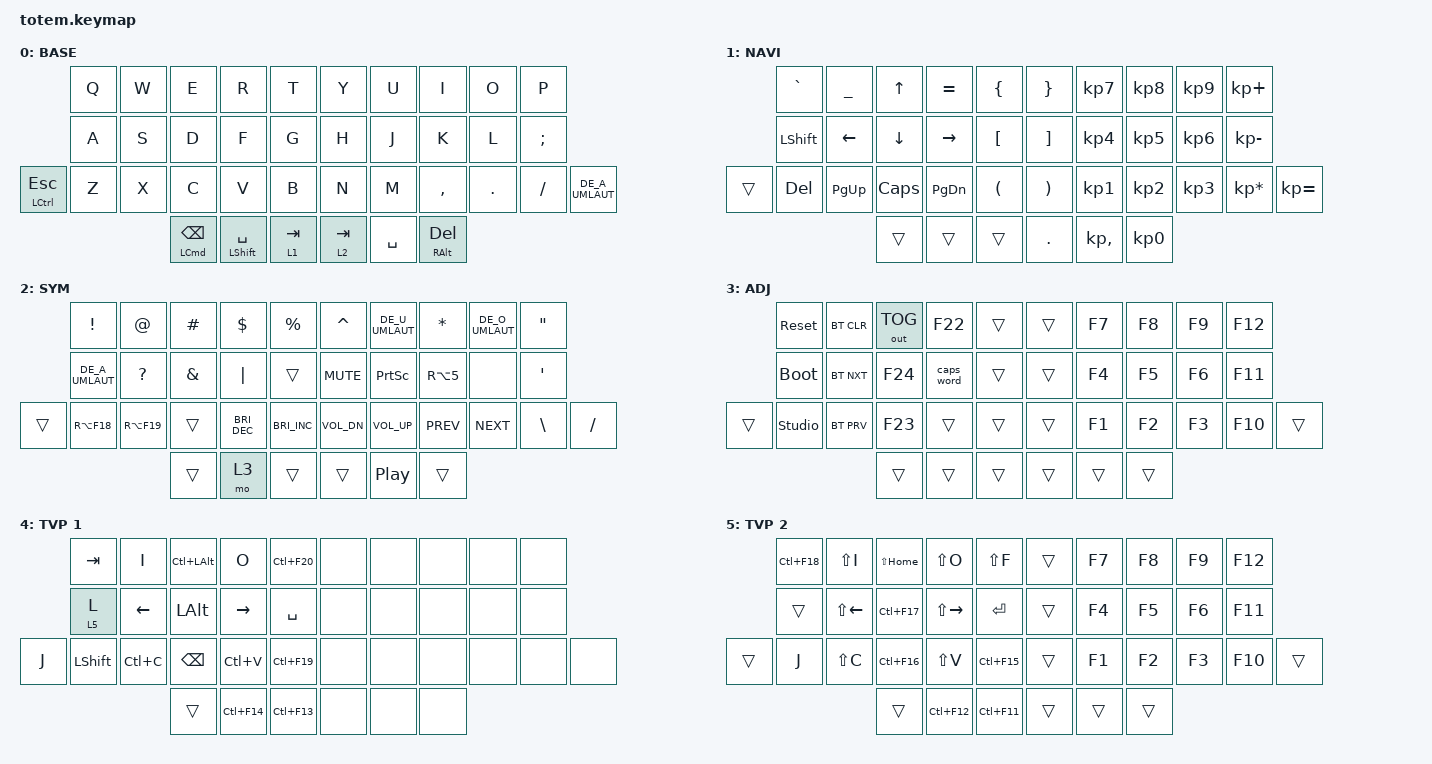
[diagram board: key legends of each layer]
//
//                                                        ▀▀▀▀▀     ▀▀▀▀▀          ▀▀█▀▀
//                                                        ▄▀▀▀▄  ▄  ▄▀▀▀▄  ▄  ▄▀▀▀▄  █  ▄▀▀▀▄
//                                                        █   █  █  █   █  █  █   █  █  █   █
//                                                         ▀▀▀   █   ▀▀▀   █   ▀▀▀   ▀   ▀▀▀
//                                                               █      ▄▄▄█▄▄▄    █   █  
//                                                               ▀      █  █  █     █▄█
//                                                             ▀▀▀▀▀    █  █  █      ▀
//                                                                      ▀  ▀  ▀
//
// ▄▄▄▄▄▄▄▄▄▄▄▄▄▄▄▄▄▄▄▄▄▄▄▄▄▄▄▄▄▄▄▄▄▄▄▄▄▄▄▄▄▄▄▄▄▄▄▄▄▄▄▄▄▄▄▄▄▄▄▄▄▄▄▄▄▄▄▄▄▄▄▄▄▄▄▄▄▄▄▄▄▄▄▄▄▄▄▄▄▄▄▄▄▄▄▄▄▄▄▄▄▄▄▄▄▄▄▄▄▄▄▄▄▄▄▄▄▄▄▄▄▄▄▄▄▄▄▄▄▄▄▄▄▄▄▄▄▄▄▄▄▄▄▄▄▄▄▄▄

#include "keys_de.h"
#include <behaviors.dtsi>
#include <dt-bindings/zmk/bt.h>
#include <dt-bindings/zmk/keys.h>
#include <dt-bindings/zmk/outputs.h>

#define BASE 0
#define NAV  1
#define SYM  2
#define ADJ  3
#define TVP1 4
#define TVP2 5

&mt {
    quick-tap-ms = <100>;
    global-quick-tap;
    flavor = "tap-preferred";
    tapping-term-ms = <170>;
};

/ {
    combos {
        compatible = "zmk,combos";

        combo_esc {
            timeout-ms = <50>;
            key-positions = <0 1>;
            bindings = <&kp ESC>;
        };

        combo_tvp {
            timeout-ms = <100>;
            key-positions = <11 12 13>;
            bindings = <&tog 4>;
        };

        Enter {
            bindings = <&kp ENTER>;
            key-positions = <16 17 18>;
        };

        TAB1 {
            bindings = <&kp TAB>;
            key-positions = <0 1>;
        };

        hyphen {
            bindings = <&kp MINUS>;
            key-positions = <30 31>;
        };

        tilde {
            bindings = <&kp TILDE>;
            key-positions = <20 0>;
        };
    };

    macros {
        gif: gif {
            label = "giphy";
            compatible = "zmk,behavior-macro";
            #binding-cells = <0>;
            bindings =
                <&macro_press>,
                <&kp LSHFT>,
                <&macro_tap>,
                <&kp N2>,
                <&macro_release>,
                <&kp LSHFT>,
                <&macro_tap>,
                <&kp G &kp I &kp F>;
        };
    };

    keymap {
        compatible = "zmk,keymap";

        // ▄▄▄▄▄▄▄▄▄▄▄▄▄▄▄▄▄▄▄▄▄▄▄▄▄▄▄▄▄▄▄▄▄▄▄▄▄▄▄▄▄▄▄▄▄▄▄▄▄▄▄▄▄▄▄▄▄▄▄▄▄▄▄▄▄▄▄▄▄▄▄▄▄▄▄▄▄▄▄▄▄▄▄▄▄▄▄▄▄▄▄▄▄▄▄▄▄▄▄▄▄▄▄▄▄▄▄▄▄▄▄▄▄▄▄▄▄▄▄▄▄▄▄▄▄▄▄▄▄▄▄▄▄▄▄▄▄▄▄▄▄▄▄▄▄▄▄▄▄

        base_layer {
            // ┏━━━━━━━━━━━━━━━━━━━━━━━━━━━━━━━━━━━━━━━┓

            label = "BASE";

            // ┗━━━━━━━━━━━━━━━━━━━━━━━━━━━━━━━━━━━━━━━┛
            //             ┏━━━━━━━━━━━┳━━━━━━━━━━━┳━━━━━━━━━━━┳━━━━━━━━━━━┳━━━━━━━━━━━┓   ┏━━━━━━━━━━━┳━━━━━━━━━━━┳━━━━━━━━━━━┳━━━━━━━━━━━┳━━━━━━━━━━━┓
            //             ┃     Q     ┃     W     ┃     F     ┃     P     ┃     G     ┃   ┃     J     ┃     L     ┃     U     ┃     Y     ┃     ;     ┃
            //             ┣━━━━━━━━━━━╋━━━━━━━━━━━╋━━━━━━━━━━━╋━━━━━━━━━━━╋━━━━━━━━━━━┫   ┣━━━━━━━━━━━╋━━━━━━━━━━━╋━━━━━━━━━━━╋━━━━━━━━━━━╋━━━━━━━━━━━┫
            //             ┃     A     ┃     R     ┃     S     ┃     T     ┃     D     ┃   ┃     H     ┃     N     ┃     E     ┃     I     ┃     O     ┃
            // ┏━━━━━━━━━━━╋━━━━━━━━━━━╋━━━━━━━━━━━╋━━━━━━━━━━━╋━━━━━━━━━━━╋━━━━━━━━━━━┫   ┣━━━━━━━━━━━╋━━━━━━━━━━━╋━━━━━━━━━━━╋━━━━━━━━━━━╋━━━━━━━━━━━╋━━━━━━━━━━━┓
            // ┃     Q     ┃     Z     ┃     X     ┃     C     ┃     V     ┃     B     ┃   ┃     K     ┃     M     ┃     ,     ┃     .     ┃     /     ┃     \     ┃
            // ┗━━━━━━━━━━━┻━━━━━━━━━━━┻━━━━━━━━━━━╋━━━━━━━━━━━╋━━━━━━━━━━━╋━━━━━━━━━━━┫   ┣━━━━━━━━━━━╋━━━━━━━━━━━╋━━━━━━━━━━━╋━━━━━━━━━━━┻━━━━━━━━━━━┻━━━━━━━━━━━┛
            //                                     ┃    DEL    ┃    TAB    ┃    SPC    ┃   ┃   ENTER   ┃           ┃   BSPC    ┃
            //                                     ┗━━━━━━━━━━━┻━━━━━━━━━━━┻━━━━━━━━━━━┛   ┗━━━━━━━━━━━┻━━━━━━━━━━━┻━━━━━━━━━━━┛

            bindings = <
                      &kp Q  &kp W  &kp E                       &kp R                 &kp T        &kp Y      &kp U      &kp I                 &kp O    &kp P
                      &kp A  &kp S  &kp D                       &kp F                 &kp G        &kp H      &kp J      &kp K                 &kp L    &kp SEMI
&mt LEFT_CONTROL ESC  &kp Z  &kp X  &kp C                       &kp V                 &kp B        &kp N      &kp M      &kp COMMA             &kp DOT  &kp FSLH  &kp DE_A_UMLAUT
                                    &mt LEFT_COMMAND BACKSPACE  &mt LEFT_SHIFT SPACE  &lt 1 TAB    &lt 2 TAB  &kp SPACE  &mt RIGHT_ALT DELETE
            >;
        };

        // ▄▄▄▄▄▄▄▄▄▄▄▄▄▄▄▄▄▄▄▄▄▄▄▄▄▄▄▄▄▄▄▄▄▄▄▄▄▄▄▄▄▄▄▄▄▄▄▄▄▄▄▄▄▄▄▄▄▄▄▄▄▄▄▄▄▄▄▄▄▄▄▄▄▄▄▄▄▄▄▄▄▄▄▄▄▄▄▄▄▄▄▄▄▄▄▄▄▄▄▄▄▄▄▄▄▄▄▄▄▄▄▄▄▄▄▄▄▄▄▄▄▄▄▄▄▄▄▄▄▄▄▄▄▄▄▄▄▄▄▄▄▄▄▄▄▄▄▄▄

        nav_layer {
            // ┏━━━━━━━━━━━━━━━━━━━━━━━━━━━━━━━━━━━━━━━┓

            label = "NAVI";

            // ┗━━━━━━━━━━━━━━━━━━━━━━━━━━━━━━━━━━━━━━━┛
            //             ┏━━━━━━━━━━━┳━━━━━━━━━━━┳━━━━━━━━━━━┳━━━━━━━━━━━┳━━━━━━━━━━━┓   ┏━━━━━━━━━━━┳━━━━━━━━━━━┳━━━━━━━━━━━┳━━━━━━━━━━━┳━━━━━━━━━━━┓
            //             ┃           ┃           ┃     UP    ┃           ┃     {     ┃   ┃     }     ┃     7     ┃     8     ┃     9     ┃     +     ┃
            //             ┣━━━━━━━━━━━╋━━━━━━━━━━━╋━━━━━━━━━━━╋━━━━━━━━━━━╋━━━━━━━━━━━┫   ┣━━━━━━━━━━━╋━━━━━━━━━━━╋━━━━━━━━━━━╋━━━━━━━━━━━╋━━━━━━━━━━━┫
            //             ┃   SHIFT   ┃   LEFT    ┃    DOWN   ┃   RIGHT   ┃     [     ┃   ┃     ]     ┃     4     ┃     5     ┃     6     ┃     -     ┃
            // ┏━━━━━━━━━━━╋━━━━━━━━━━━╋━━━━━━━━━━━╋━━━━━━━━━━━╋━━━━━━━━━━━╋━━━━━━━━━━━┫   ┣━━━━━━━━━━━╋━━━━━━━━━━━╋━━━━━━━━━━━╋━━━━━━━━━━━╋━━━━━━━━━━━╋━━━━━━━━━━━┓
            // ┃           ┃           ┃   P UP    ┃  C LOCK   ┃  P DOWN   ┃     (     ┃   ┃     )     ┃     1     ┃     2     ┃     3     ┃     *     ┃           ┃
            // ┗━━━━━━━━━━━┻━━━━━━━━━━━┻━━━━━━━━━━━╋━━━━━━━━━━━╋━━━━━━━━━━━╋━━━━━━━━━━━┫   ┣━━━━━━━━━━━╋━━━━━━━━━━━╋━━━━━━━━━━━╋━━━━━━━━━━━┻━━━━━━━━━━━┻━━━━━━━━━━━┛
            //                                     ┃           ┃    TAB    ┃    SPC    ┃   ┃    DEL    ┃     0     ┃           ┃
            //                                     ┗━━━━━━━━━━━┻━━━━━━━━━━━┻━━━━━━━━━━━┛   ┗━━━━━━━━━━━┻━━━━━━━━━━━┻━━━━━━━━━━━┛

            bindings = <
        &kp GRAVE  &kp UNDER  &kp UP    &kp EQUAL  &kp LBRC    &kp RBRC  &kp KP_N7     &kp KP_N8        &kp KP_N9  &kp KP_PLUS
        &kp LSHFT  &kp LEFT   &kp DOWN  &kp RIGHT  &kp LBKT    &kp RBKT  &kp KP_N4     &kp KP_N5        &kp KP_N6  &kp KP_MINUS
&trans  &kp DEL    &kp PG_UP  &kp CAPS  &kp PG_DN  &kp LPAR    &kp RPAR  &kp KP_N1     &kp KP_N2        &kp KP_N3  &kp KP_MULTIPLY  &kp KP_EQUAL
                              &trans    &trans     &trans      &kp DOT   &kp KP_COMMA  &kp KP_NUMBER_0
            >;
        };

        // ▄▄▄▄▄▄▄▄▄▄▄▄▄▄▄▄▄▄▄▄▄▄▄▄▄▄▄▄▄▄▄▄▄▄▄▄▄▄▄▄▄▄▄▄▄▄▄▄▄▄▄▄▄▄▄▄▄▄▄▄▄▄▄▄▄▄▄▄▄▄▄▄▄▄▄▄▄▄▄▄▄▄▄▄▄▄▄▄▄▄▄▄▄▄▄▄▄▄▄▄▄▄▄▄▄▄▄▄▄▄▄▄▄▄▄▄▄▄▄▄▄▄▄▄▄▄▄▄▄▄▄▄▄▄▄▄▄▄▄▄▄▄▄▄▄▄▄▄▄

        sim_layer {
            // ┏━━━━━━━━━━━━━━━━━━━━━━━━━━━━━━━━━━━━━━━┓

            label = "SYM";

            // ┗━━━━━━━━━━━━━━━━━━━━━━━━━━━━━━━━━━━━━━━┛
            //             ┏━━━━━━━━━━━┳━━━━━━━━━━━┳━━━━━━━━━━━┳━━━━━━━━━━━┳━━━━━━━━━━━┓   ┏━━━━━━━━━━━┳━━━━━━━━━━━┳━━━━━━━━━━━┳━━━━━━━━━━━┳━━━━━━━━━━━┓
            //             ┃     !     ┃     @     ┃     #     ┃     $     ┃     %     ┃   ┃     ˆ     ┃     &     ┃     Ü     ┃     '     ┃     "     ┃
            //             ┣━━━━━━━━━━━╋━━━━━━━━━━━╋━━━━━━━━━━━╋━━━━━━━━━━━╋━━━━━━━━━━━┫   ┣━━━━━━━━━━━╋━━━━━━━━━━━╋━━━━━━━━━━━╋━━━━━━━━━━━╋━━━━━━━━━━━┫
            //             ┃     Ä     ┃           ┃    SZ     ┃           ┃           ┃   ┃   MUTE    ┃   YEN     ┃   EURO    ┃  POUND    ┃     Ö     ┃
            // ┏━━━━━━━━━━━╋━━━━━━━━━━━╋━━━━━━━━━━━╋━━━━━━━━━━━╋━━━━━━━━━━━╋━━━━━━━━━━━┫   ┣━━━━━━━━━━━╋━━━━━━━━━━━╋━━━━━━━━━━━╋━━━━━━━━━━━╋━━━━━━━━━━━╋━━━━━━━━━━━┓
            // ┃           ┃  EMAIL1   ┃  EMAIL2   ┃           ┃           ┃           ┃   ┃   VOL-    ┃   VOL+    ┃   LAST    ┃   NEXT    ┃     \     ┃           ┃
            // ┗━━━━━━━━━━━┻━━━━━━━━━━━┻━━━━━━━━━━━╋━━━━━━━━━━━╋━━━━━━━━━━━╋━━━━━━━━━━━┫   ┣━━━━━━━━━━━╋━━━━━━━━━━━╋━━━━━━━━━━━╋━━━━━━━━━━━┻━━━━━━━━━━━┻━━━━━━━━━━━┛
            //                                     ┃           ┃    GIF    ┃    ADJ    ┃   ┃           ┃           ┃           ┃
            //                                     ┗━━━━━━━━━━━┻━━━━━━━━━━━┻━━━━━━━━━━━┛   ┗━━━━━━━━━━━┻━━━━━━━━━━━┻━━━━━━━━━━━┛

            bindings = <
        &kp EXCL         &kp AT       &kp POUND  &kp DLLR       &kp PRCNT               &kp CARET     &kp DE_U_UMLAUT  &kp ASTRK   &kp DE_O_UMLAUT  &kp DQT
        &kp DE_A_UMLAUT  &kp QMARK    &kp AMPS   &kp PIPE       &trans                  &kp C_MUTE    &kp PRINTSCREEN  &kp RA(N5)  &none            &kp APOS
&trans  &kp RA(F18)      &kp RA(F19)  &trans     &kp C_BRI_DEC  &kp C_BRIGHTNESS_INC    &kp C_VOL_DN  &kp C_VOL_UP     &kp C_PREV  &kp C_NEXT       &kp BSLH  &kp FSLH
                                      &trans     &mo 3          &trans                  &trans        &kp C_PP         &trans
            >;
        };

        // ▄▄▄▄▄▄▄▄▄▄▄▄▄▄▄▄▄▄▄▄▄▄▄▄▄▄▄▄▄▄▄▄▄▄▄▄▄▄▄▄▄▄▄▄▄▄▄▄▄▄▄▄▄▄▄▄▄▄▄▄▄▄▄▄▄▄▄▄▄▄▄▄▄▄▄▄▄▄▄▄▄▄▄▄▄▄▄▄▄▄▄▄▄▄▄▄▄▄▄▄▄▄▄▄▄▄▄▄▄▄▄▄▄▄▄▄▄▄▄▄▄▄▄▄▄▄▄▄▄▄▄▄▄▄▄▄▄▄▄▄▄▄▄▄▄▄▄▄▄

        adjust_layer {
            // ┏━━━━━━━━━━━━━━━━━━━━━━━━━━━━━━━━━━━━━━━┓

            label = "ADJ";

            // ┗━━━━━━━━━━━━━━━━━━━━━━━━━━━━━━━━━━━━━━━┛
            //             ┏━━━━━━━━━━━┳━━━━━━━━━━━┳━━━━━━━━━━━┳━━━━━━━━━━━┳━━━━━━━━━━━┓   ┏━━━━━━━━━━━┳━━━━━━━━━━━┳━━━━━━━━━━━┳━━━━━━━━━━━┳━━━━━━━━━━━┓
            //             ┃   RESET   ┃ BT CLEAR  ┃  OUT TOG  ┃           ┃           ┃   ┃           ┃    F7     ┃    F8     ┃    F9     ┃    F12    ┃
            //             ┣━━━━━━━━━━━╋━━━━━━━━━━━╋━━━━━━━━━━━╋━━━━━━━━━━━╋━━━━━━━━━━━┫   ┣━━━━━━━━━━━╋━━━━━━━━━━━╋━━━━━━━━━━━╋━━━━━━━━━━━╋━━━━━━━━━━━┫
            //             ┃ BOOTLOAD  ┃ BT NEXT   ┃           ┃           ┃           ┃   ┃           ┃    F4     ┃    F5     ┃    F6     ┃    F11    ┃
            // ┏━━━━━━━━━━━╋━━━━━━━━━━━╋━━━━━━━━━━━╋━━━━━━━━━━━╋━━━━━━━━━━━╋━━━━━━━━━━━┫   ┣━━━━━━━━━━━╋━━━━━━━━━━━╋━━━━━━━━━━━╋━━━━━━━━━━━╋━━━━━━━━━━━╋━━━━━━━━━━━┓
            // ┃           ┃ STUDIO    ┃ BT PREV   ┃           ┃           ┃           ┃   ┃           ┃    F1     ┃    F2     ┃    F3     ┃    F10    ┃           ┃
            // ┗━━━━━━━━━━━┻━━━━━━━━━━━┻━━━━━━━━━━━╋━━━━━━━━━━━╋━━━━━━━━━━━╋━━━━━━━━━━━┫   ┣━━━━━━━━━━━╋━━━━━━━━━━━╋━━━━━━━━━━━╋━━━━━━━━━━━┻━━━━━━━━━━━┻━━━━━━━━━━━┛
            //                                     ┃           ┃           ┃           ┃   ┃           ┃           ┃           ┃
            //                                     ┗━━━━━━━━━━━┻━━━━━━━━━━━┻━━━━━━━━━━━┛   ┗━━━━━━━━━━━┻━━━━━━━━━━━┻━━━━━━━━━━━┛

            bindings = <
        &sys_reset      &bt BT_CLR  &out OUT_TOG  &kp F22     &trans    &trans  &kp F7  &kp F8  &kp F9  &kp F12
        &bootloader     &bt BT_NXT  &kp F24       &caps_word  &trans    &trans  &kp F4  &kp F5  &kp F6  &kp F11
&trans  &studio_unlock  &bt BT_PRV  &kp F23       &trans      &trans    &trans  &kp F1  &kp F2  &kp F3  &kp F10  &trans
                                    &trans        &trans      &trans    &trans  &trans  &trans
            >;
        };

        // ▄▄▄▄▄▄▄▄▄▄▄▄▄▄▄▄▄▄▄▄▄▄▄▄▄▄▄▄▄▄▄▄▄▄▄▄▄▄▄▄▄▄▄▄▄▄▄▄▄▄▄▄▄▄▄▄▄▄▄▄▄▄▄▄▄▄▄▄▄▄▄▄▄▄▄▄▄▄▄▄▄▄▄▄▄▄▄▄▄▄▄▄▄▄▄▄▄▄▄▄▄▄▄▄▄▄▄▄▄▄▄▄▄▄▄▄▄▄▄▄▄▄▄▄▄▄▄▄▄▄▄▄▄▄▄▄▄▄▄▄▄▄▄▄▄▄▄▄▄

        tvp1_layer {
            // ┏━━━━━━━━━━━━━━━━━━━━━━━━━━━━━━━━━━━━━━━┓

            label = "TVP 1";

            // ┗━━━━━━━━━━━━━━━━━━━━━━━━━━━━━━━━━━━━━━━┛
            //             ┏━━━━━━━━━━━┳━━━━━━━━━━━┳━━━━━━━━━━━┳━━━━━━━━━━━┳━━━━━━━━━━━┓   ┏━━━━━━━━━━━┳━━━━━━━━━━━┳━━━━━━━━━━━┳━━━━━━━━━━━┳━━━━━━━━━━━┓
            //             ┃ NEXT FILE ┃ MARK IN   ┃ ROTATE    ┃ MARK OUT  ┃ SHOW SNAP ┃   ┃           ┃           ┃           ┃           ┃           ┃
            //             ┣━━━━━━━━━━━╋━━━━━━━━━━━╋━━━━━━━━━━━╋━━━━━━━━━━━╋━━━━━━━━━━━┫   ┣━━━━━━━━━━━╋━━━━━━━━━━━╋━━━━━━━━━━━╋━━━━━━━━━━━╋━━━━━━━━━━━┫
            //             ┃ TVP II    ┃ LEFT      ┃ PAN       ┃ RIGHT     ┃ PLAY/FLIP ┃   ┃           ┃           ┃           ┃           ┃           ┃
            // ┏━━━━━━━━━━━╋━━━━━━━━━━━╋━━━━━━━━━━━╋━━━━━━━━━━━╋━━━━━━━━━━━╋━━━━━━━━━━━┫   ┣━━━━━━━━━━━╋━━━━━━━━━━━╋━━━━━━━━━━━╋━━━━━━━━━━━╋━━━━━━━━━━━╋━━━━━━━━━━━┓
            // ┃ FULLSCR   ┃ SHIFT     ┃ COPY      ┃ DELETE    ┃ PASTE     ┃ IMG MARK  ┃   ┃           ┃           ┃           ┃           ┃           ┃           ┃
            // ┗━━━━━━━━━━━┻━━━━━━━━━━━┻━━━━━━━━━━━╋━━━━━━━━━━━╋━━━━━━━━━━━╋━━━━━━━━━━━┫   ┣━━━━━━━━━━━╋━━━━━━━━━━━╋━━━━━━━━━━━╋━━━━━━━━━━━┻━━━━━━━━━━━┻━━━━━━━━━━━┛
            //                                     ┃           ┃ UNDO/SAVE ┃  SEL/MOV  ┃   ┃           ┃           ┃           ┃
            //                                     ┗━━━━━━━━━━━┻━━━━━━━━━━━┻━━━━━━━━━━━┛   ┗━━━━━━━━━━━┻━━━━━━━━━━━┻━━━━━━━━━━━┛

            bindings = <
       &kp TAB    &kp I      &kp LC(LALT)  &kp O        &kp LC(F20)    &none  &none  &none  &none  &none
       &lt 5 L    &kp LEFT   &kp LALT      &kp RIGHT    &kp SPACE      &none  &none  &none  &none  &none
&kp J  &kp LSHFT  &kp LC(C)  &kp BSPC      &kp LC(V)    &kp LC(F19)    &none  &none  &none  &none  &none  &none
                             &trans        &kp LC(F14)  &kp LC(F13)    &none  &none  &none
            >;
        };

        // ▄▄▄▄▄▄▄▄▄▄▄▄▄▄▄▄▄▄▄▄▄▄▄▄▄▄▄▄▄▄▄▄▄▄▄▄▄▄▄▄▄▄▄▄▄▄▄▄▄▄▄▄▄▄▄▄▄▄▄▄▄▄▄▄▄▄▄▄▄▄▄▄▄▄▄▄▄▄▄▄▄▄▄▄▄▄▄▄▄▄▄▄▄▄▄▄▄▄▄▄▄▄▄▄▄▄▄▄▄▄▄▄▄▄▄▄▄▄▄▄▄▄▄▄▄▄▄▄▄▄▄▄▄▄▄▄▄▄▄▄▄▄▄▄▄▄▄▄▄

        tvp2_layer {
            // ┏━━━━━━━━━━━━━━━━━━━━━━━━━━━━━━━━━━━━━━━┓

            label = "TVP 2";

            // ┗━━━━━━━━━━━━━━━━━━━━━━━━━━━━━━━━━━━━━━━┛
            //             ┏━━━━━━━━━━━┳━━━━━━━━━━━┳━━━━━━━━━━━┳━━━━━━━━━━━┳━━━━━━━━━━━┓   ┏━━━━━━━━━━━┳━━━━━━━━━━━┳━━━━━━━━━━━┳━━━━━━━━━━━┳━━━━━━━━━━━┓
            //             ┃ SOLO      ┃ TOGGLE IN ┃ RESET ROT ┃ TOGGLE OUT┃ TAKE SNAP ┃   ┃           ┃           ┃           ┃           ┃           ┃
            //             ┣━━━━━━━━━━━╋━━━━━━━━━━━╋━━━━━━━━━━━╋━━━━━━━━━━━╋━━━━━━━━━━━┫   ┣━━━━━━━━━━━╋━━━━━━━━━━━╋━━━━━━━━━━━╋━━━━━━━━━━━╋━━━━━━━━━━━┫
            //             ┃ ---       ┃ LAST KEY  ┃ NEW KEY   ┃ NEXT KEY  ┃ ENTER     ┃   ┃           ┃           ┃           ┃           ┃           ┃
            // ┏━━━━━━━━━━━╋━━━━━━━━━━━╋━━━━━━━━━━━╋━━━━━━━━━━━╋━━━━━━━━━━━╋━━━━━━━━━━━┫   ┣━━━━━━━━━━━╋━━━━━━━━━━━╋━━━━━━━━━━━╋━━━━━━━━━━━╋━━━━━━━━━━━╋━━━━━━━━━━━┓
            // ┃           ┃ FULLSCR   ┃ CPY2BRUSH ┃ DEL HEAD  ┃ PSTinPLACE┃ BOOK MARK ┃   ┃           ┃           ┃           ┃           ┃           ┃           ┃
            // ┗━━━━━━━━━━━┻━━━━━━━━━━━┻━━━━━━━━━━━╋━━━━━━━━━━━╋━━━━━━━━━━━╋━━━━━━━━━━━┫   ┣━━━━━━━━━━━╋━━━━━━━━━━━╋━━━━━━━━━━━╋━━━━━━━━━━━┻━━━━━━━━━━━┻━━━━━━━━━━━┛
            //                                     ┃           ┃ REDO/SAV1 ┃TRANS/WARP ┃   ┃           ┃           ┃           ┃
            //                                     ┗━━━━━━━━━━━┻━━━━━━━━━━━┻━━━━━━━━━━━┛   ┗━━━━━━━━━━━┻━━━━━━━━━━━┻━━━━━━━━━━━┛

            bindings = <
        &kp LC(F18)  &kp LS(I)     &kp LS(HOME)  &kp LS(O)      &kp LS(F)      &trans  &kp F7  &kp F8  &kp F9  &kp F12
        &trans       &kp LS(LEFT)  &kp LC(F17)   &kp LS(RIGHT)  &kp RET        &trans  &kp F4  &kp F5  &kp F6  &kp F11
&trans  &kp J        &kp LS(C)     &kp LC(F16)   &kp LS(V)      &kp LC(F15)    &trans  &kp F1  &kp F2  &kp F3  &kp F10  &trans
                                   &trans        &kp LC(F12)    &kp LC(F11)    &trans  &trans  &trans
            >;
        };
    };
};
